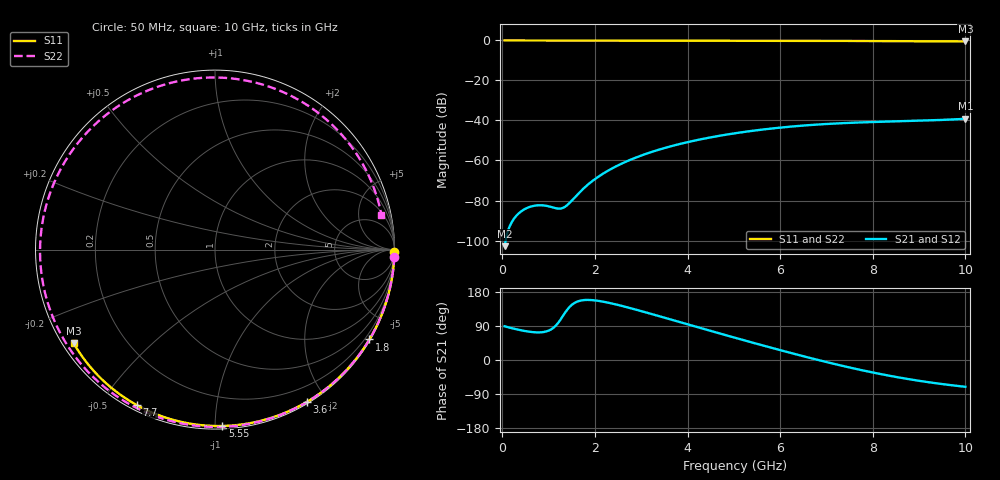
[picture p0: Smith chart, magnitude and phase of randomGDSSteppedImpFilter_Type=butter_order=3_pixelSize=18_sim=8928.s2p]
! freq	dB(S11)	phase(S11)	dB(S12)	phase(S12)
!  dB(S21)	phase(S21)	dB(S22)	phase(S22)
!S-par simulation data
#  GHz  S  DB  R 50
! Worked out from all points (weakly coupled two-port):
!   200 points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, 50 MHz to 10 GHz, reference 50 ohm
!   highest |S21| = -39.14 dB at 10 GHz (marker M1); lowest = -102.8 dB at 50 MHz (marker M2)
!   lowest |S11| = -0.5 dB at 10 GHz (marker M3), VSWR 35.12, Z = 1.55 - j15 ohm
!   |S11| at or under -10 dB: nowhere
!   |S22| runs from -0.5 to 0.0 dB; largest |S21 - S12| = 0
!   S11 on the Smith chart (normalised r, x): 50 MHz: open; 1.8 GHz: 0.03, -3.71; 3.6 GHz: 0.02, -1.77; 5.55 GHz: 0.02, -1.04; 7.7 GHz: 0.02, -0.62; 10 GHz: 0.03, -0.30
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0.05  -0.00 -0.9  -102.82 89.0  -102.82 89.0  -0.00 -2.2
0.35  -0.01 -5.9  -86.53 79.8  -86.53 79.8  -0.02 -15.3
0.7  -0.02 -11.9  -82.58 73.1  -82.58 73.1  -0.04 -30.4
1.1  -0.02 -18.6  -83.51 84.6  -83.51 84.6  -0.06 -47.2
1.5  -0.03 -25.2  -80.04 145.4  -80.04 145.4  -0.08 -63.6
1.75  -0.04 -29.4  -74.08 158.0  -74.08 158.0  -0.09 -73.5
1.8  -0.04 -30.2  -73.03 158.4  -73.03 158.4  -0.09 -75.4
2.1  -0.04 -35.1  -67.71 155.6  -67.71 155.6  -0.10 -86.9
2.45  -0.05 -40.7  -63.00 146.7  -63.00 146.7  -0.12 -99.9
2.9  -0.06 -47.9  -58.39 132.4  -58.39 132.4  -0.13 -116.0
3.4  -0.07 -55.7  -54.46 115.2  -54.46 115.2  -0.15 -133.1
3.6  -0.08 -58.8  -53.14 108.2  -53.14 108.2  -0.16 -139.7
4.35  -0.10 -70.2  -49.10 81.9  -49.10 81.9  -0.20 -164.1
5.05  -0.12 -80.4  -46.30 57.8  -46.30 57.8  -0.23 173.7
5.55  -0.14 -87.6  -44.73 40.9  -44.73 40.9  -0.26 157.8
6.1  -0.17 -95.3  -43.34 22.8  -43.34 22.8  -0.29 140.2
6.7  -0.20 -103.5  -42.20 3.7  -42.20 3.7  -0.32 120.7
7.2  -0.23 -110.2  -41.50 -11.3  -41.50 -11.3  -0.35 104.2
7.7  -0.27 -116.8  -41.00 -25.2  -41.00 -25.2  -0.37 87.4
8.35  -0.32 -125.2  -40.53 -41.3  -40.53 -41.3  -0.39 65.5
9.2  -0.40 -136.2  -39.96 -58.5  -39.96 -58.5  -0.42 37.2
10  -0.49 -146.5  -39.14 -70.7  -39.14 -70.7  -0.47 11.8
